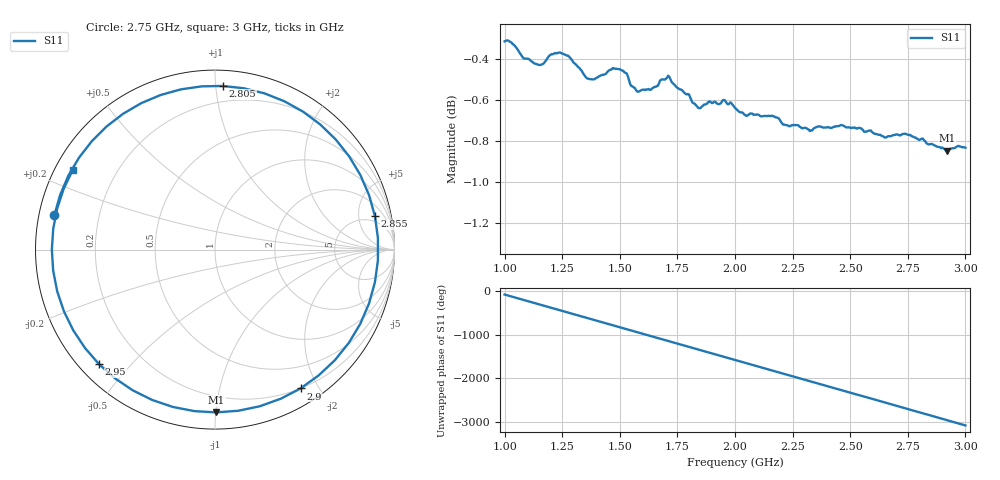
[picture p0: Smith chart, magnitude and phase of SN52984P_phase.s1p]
!  02.03.2026  11:04:29
! Ref Plane: 0,000 mm
# MHZ S MA R  50
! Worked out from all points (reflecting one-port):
!   401 points, 1 GHz to 3 GHz, reference 50 ohm
!   lowest |S11| = -0.8 dB at 2.92 GHz (marker M1), VSWR 20.50, Z = 4.91 - j50.2 ohm
!   phase of S11 starts at -70 deg and turns -3019 deg over the sweep
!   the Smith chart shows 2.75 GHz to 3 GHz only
!   S11 on the Smith chart (normalised r, x): 2.75 GHz: 0.04, +0.11; 2.805 GHz: 0.10, +1.04; 2.855 GHz: 3.72, +8.04; 2.9 GHz: 0.20, -1.77; 2.95 GHz: 0.06, -0.41; 3 GHz: 0.05, +0.26
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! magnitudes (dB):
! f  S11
! 1 GHz  -0.3
! 1.085 GHz  -0.4
! 1.145 GHz  -0.4
! 1.205 GHz  -0.4
! 1.25 GHz  -0.4
! 1.365 GHz  -0.5
! 1.5 GHz  -0.5
! 1.58 GHz  -0.6
! 1.64 GHz  -0.5
! 1.705 GHz  -0.5
! 1.75 GHz  -0.5
! 1.84 GHz  -0.6
! 1.95 GHz  -0.6
! 2 GHz  -0.6
! 2.045 GHz  -0.7
! 2.17 GHz  -0.7
! 2.215 GHz  -0.7
! 2.25 GHz  -0.7
! 2.325 GHz  -0.8
! 2.5 GHz  -0.7
! 2.65 GHz  -0.8
! 2.75 GHz  -0.8
! 2.805 GHz  -0.8
! 2.855 GHz  -0.8
! 2.9 GHz  -0.8
! 2.92 GHz  -0.8
! 2.95 GHz  -0.8
! 3 GHz  -0.8
